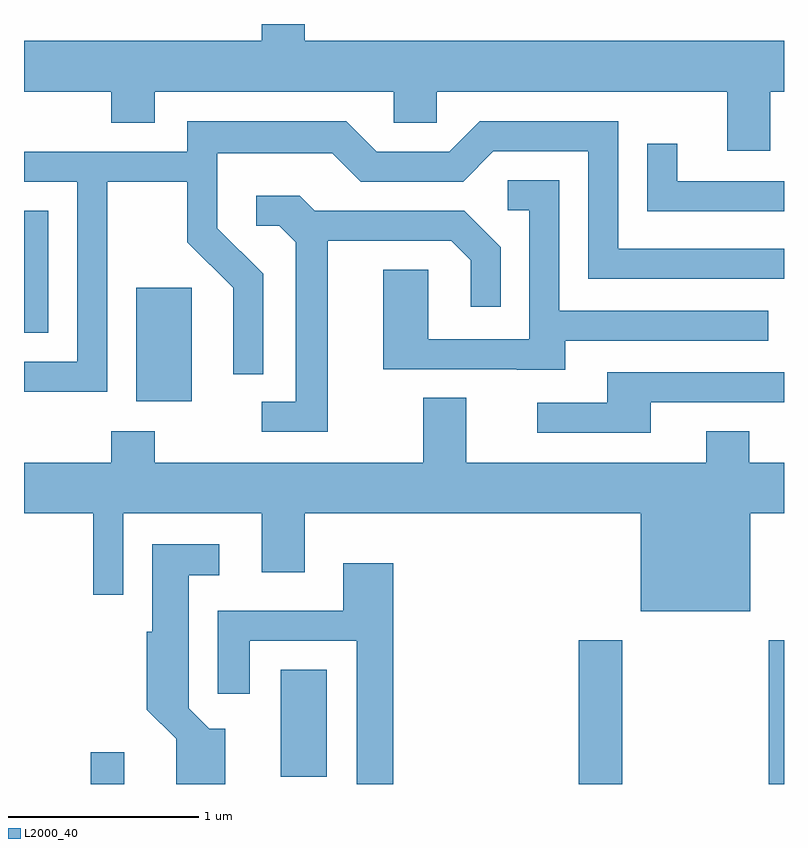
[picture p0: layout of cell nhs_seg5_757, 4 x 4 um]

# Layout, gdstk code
import gdstk
lib = gdstk.Library(unit=1e-6, precision=1e-09)
def R(c, l, rs):  # rectangles x0, y0, x1, y1
    for r in rs: c.add(gdstk.rectangle(r[:2], r[2:], *l))
def P(c, l, *ps):  # polygons
    for p in ps: c.add(gdstk.Polygon(p, *l))
L2000_40 = (2000, 40)

nhs_seg5_757 = lib.new_cell('nhs_seg5_757')
R(nhs_seg5_757, L2000_40, [(207.961,1422.072,208.139,1422.239), (210.531,1422.072,210.759,1422.829), (211.531,1422.072,211.611,1422.829), (208.961,1422.111,209.204,1422.674), (208.201,1424.086,208.494,1424.684), (207.611,1424.446,207.739,1425.089)])
P(nhs_seg5_757, L2000_40, [(211.539,1425.716),(211.611,1425.716),(211.611,1425.984),(209.089,1425.984),(209.089,1426.072),(208.861,1426.072),(208.861,1425.984),(207.611,1425.984),(207.611,1425.716),(208.071,1425.716),(208.071,1425.551),(208.299,1425.551),(208.299,1425.716),(209.556,1425.716),(209.556,1425.551),(209.784,1425.551),(209.784,1425.716),(211.311,1425.716),(211.311,1425.406),(211.539,1425.406)],
  [(208.049,1425.241),(208.471,1425.241),(208.471,1424.924),(208.711,1424.684),(208.711,1424.228),(208.869,1424.228),(208.869,1424.757),(208.629,1424.997),(208.629,1425.391),(209.234,1425.391),(209.384,1425.241),(209.922,1425.241),(210.082,1425.401),(210.581,1425.401),(210.581,1424.731),(211.611,1424.731),(211.611,1424.889),(210.739,1424.889),(210.739,1425.559),(210.009,1425.559),(209.849,1425.399),(209.467,1425.399),(209.307,1425.559),(208.471,1425.559),(208.471,1425.399),(207.611,1425.399),(207.611,1425.241),(207.891,1425.241),(207.891,1424.294),(207.611,1424.294),(207.611,1424.136),(208.049,1424.136)],
  [(211.611,1425.244),(211.049,1425.244),(211.049,1425.443),(210.891,1425.443),(210.891,1425.086),(211.611,1425.086)],
  [(210.459,1424.406),(211.528,1424.406),(211.528,1424.564),(210.429,1424.564),(210.429,1425.249),(210.158,1425.249),(210.158,1425.091),(210.271,1425.091),(210.271,1424.414),(209.739,1424.414),(209.739,1424.779),(209.501,1424.779),(209.501,1424.256),(210.205,1424.256),(210.205,1424.251),(210.459,1424.251)],
  [(209.209,1424.931),(209.859,1424.931),(209.961,1424.829),(209.961,1424.583),(210.119,1424.583),(210.119,1424.897),(209.927,1425.089),(209.142,1425.089),(209.062,1425.169),(208.833,1425.169),(208.833,1425.011),(208.954,1425.011),(209.041,1424.924),(209.041,1424.084),(208.863,1424.084),(208.863,1423.926),(209.209,1423.926)],
  [(210.909,1424.081),(211.611,1424.081),(211.611,1424.239),(210.681,1424.239),(210.681,1424.079),(210.313,1424.079),(210.313,1423.921),(210.909,1423.921)],
  [(211.434,1423.496),(211.611,1423.496),(211.611,1423.764),(211.429,1423.764),(211.429,1423.929),(211.201,1423.929),(211.201,1423.764),(209.939,1423.764),(209.939,1424.104),(209.711,1424.104),(209.711,1423.764),(208.299,1423.764),(208.299,1423.929),(208.071,1423.929),(208.071,1423.764),(207.611,1423.764),(207.611,1423.496),(207.976,1423.496),(207.976,1423.068),(208.134,1423.068),(208.134,1423.496),(208.861,1423.496),(208.861,1423.186),(209.089,1423.186),(209.089,1423.496),(210.856,1423.496),(210.856,1422.981),(211.434,1422.981)],
  [(208.669,1422.364),(208.587,1422.364),(208.479,1422.472),(208.479,1423.171),(208.638,1423.171),(208.638,1423.334),(208.286,1423.334),(208.286,1422.874),(208.256,1422.874),(208.256,1422.464),(208.411,1422.309),(208.411,1422.072),(208.669,1422.072)],
  [(209.554,1423.234),(209.291,1423.234),(209.291,1422.984),(208.631,1422.984),(208.631,1422.548),(208.799,1422.548),(208.799,1422.826),(209.361,1422.826),(209.361,1422.072),(209.554,1422.072)])

lib.write_gds('nhs_seg5_757.gds')
